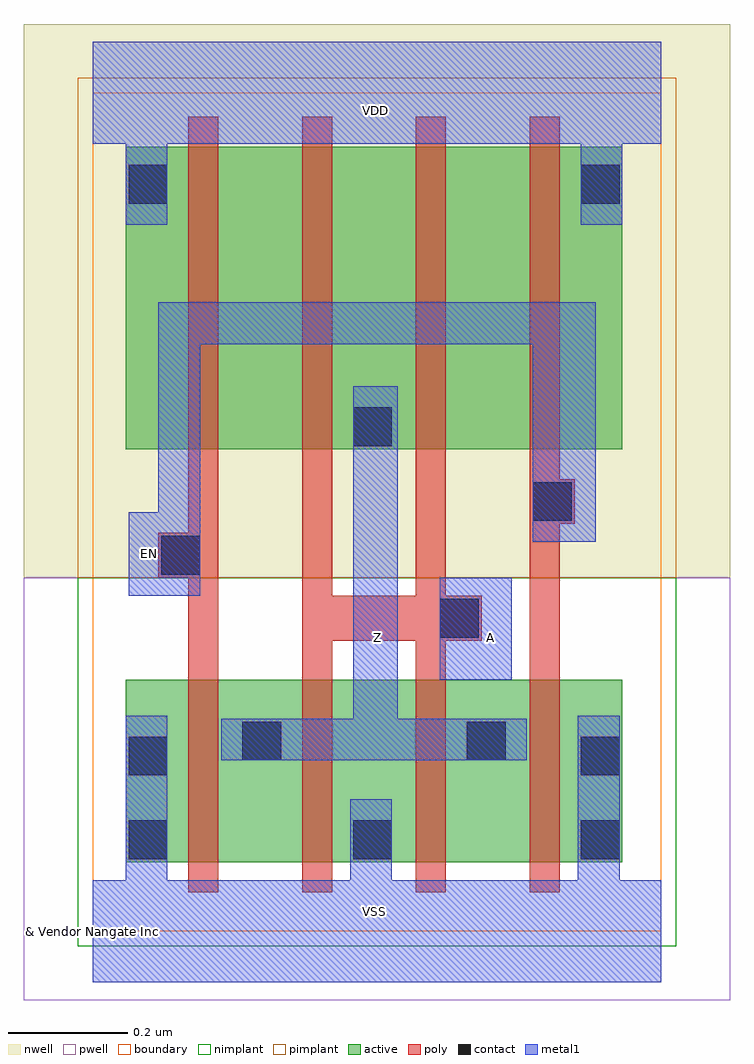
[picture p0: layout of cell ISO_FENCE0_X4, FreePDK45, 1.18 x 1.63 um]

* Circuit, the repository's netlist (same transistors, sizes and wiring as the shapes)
* 
* ******************************************************************************
* *                                                                            *
* *                   Copyright (C) 2004-2011, Nangate Inc.                    *
* *                           All rights reserved.                             *
* *                                                                            *
* * Nangate and the Nangate logo are trademarks of Nangate Inc.                *
* *                                                                            *
* * All trademarks, logos, software marks, and trade names (collectively the   *
* * "Marks") in this program are proprietary to Nangate or other respective    *
* * owners that have granted Nangate the right and license to use such Marks.  *
* * You are not permitted to use the Marks without the prior written consent   *
* * of Nangate or such third party that may own the Marks.                     *
* *                                                                            *
* * This file has been provided pursuant to a License Agreement containing     *
* * restrictions on its use. This file contains valuable trade secrets and     *
* * proprietary information of Nangate Inc., and is protected by U.S. and      *
* * international laws and/or treaties.                                        *
* *                                                                            *
* * The copyright notice(s) in this file does not indicate actual or intended  *
* * publication of this file.                                                  *
* *                                                                            *
* *     NGLibraryCreator, v2010.08-HR32-SP3-2010-08-05 - build 1009061800      *
* *                                                                            *
* ******************************************************************************
* 
* 
* Running on server08.nangate.com for user Giancarlo Franciscatto (gfr).
* Local time is now Thu, 6 Jan 2011, 19:45:45.
* Main process id is 3320.
*
********************************************************************************
*                                                                              *
* Cellname:   ISO_FENCE0_X4.                                                   *
*                                                                              *
* Technology: NCSU FreePDK 45nm.                                               *
* Format:     Cdl.                                                             *
*                                                                              *
* Written on server08.nangate.com for user Giancarlo Franciscatto (gfr)        *
* at 19:45:45 on Thu, 6 Jan 2011.                                              *
*                                                                              *
********************************************************************************
.SUBCKT ISO_FENCE0_X4 A EN Z VDD VSS 
*.PININFO A:I EN:I Z:O VDD:P VSS:G 
*.EQN Z=!(A + EN)
M_i_0 Z EN VSS VSS NMOS_VTL W=0.305000U L=0.050000U
M_i_7 VSS A Z VSS NMOS_VTL W=0.305000U L=0.050000U
M_i_13 Z A VSS VSS NMOS_VTL W=0.305000U L=0.050000U
M_i_19 VSS EN Z VSS NMOS_VTL W=0.305000U L=0.050000U
M_i_25 net_000 EN VDD VDD PMOS_VTL W=0.505000U L=0.050000U
M_i_30 Z A net_000 VDD PMOS_VTL W=0.505000U L=0.050000U
M_i_36 net_001 A Z VDD PMOS_VTL W=0.505000U L=0.050000U
M_i_40 VDD EN net_001 VDD PMOS_VTL W=0.505000U L=0.050000U
.ENDS 

********************************************************************************
*
* END
*
********************************************************************************

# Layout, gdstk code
import gdstk
lib = gdstk.Library(unit=1e-6, precision=1e-10)
def R(c, l, rs):  # rectangles x0, y0, x1, y1
    for r in rs: c.add(gdstk.rectangle(r[:2], r[2:], *l))
def P(c, l, *ps):  # polygons
    for p in ps: c.add(gdstk.Polygon(p, *l))
active = (1, 0)
pwell = (2, 0)
nwell = (3, 0)
nimplant = (4, 0)
pimplant = (5, 0)
poly = (9, 0)
contact = (10, 0)
metal1 = (11, 0)
boundary = (235, 0)

iso_fence0_x4 = lib.new_cell('ISO_FENCE0_X4')
R(iso_fence0_x4, active, [(0.055,0.115,0.885,0.42), (0.055,0.805,0.885,1.31)])
R(iso_fence0_x4, pwell, [(-0.115,-0.115,1.065,0.59)])
R(iso_fence0_x4, nwell, [(-0.115,0.59,1.065,1.515)])
R(iso_fence0_x4, nimplant, [(-0.025,-0.025,0.975,0.59)])
R(iso_fence0_x4, pimplant, [(-0.025,0.59,0.975,1.425)])
P(iso_fence0_x4, poly, [(0.11,0.59),(0.16,0.59),(0.16,0.065),(0.21,0.065),(0.21,1.36),(0.16,1.36),(0.16,0.665),(0.11,0.665)],
  [(0.35,0.065),(0.4,0.065),(0.4,0.485),(0.54,0.485),(0.54,0.065),(0.59,0.065),(0.59,0.485),(0.65,0.485),(0.65,0.56),(0.59,0.56),(0.59,1.36),(0.54,1.36),(0.54,0.56),(0.4,0.56),(0.4,1.36),(0.35,1.36)],
  [(0.73,0.065),(0.78,0.065),(0.78,0.68),(0.805,0.68),(0.805,0.755),(0.78,0.755),(0.78,1.36),(0.73,1.36)])
R(iso_fence0_x4, contact, [(0.06,0.12,0.125,0.185), (0.435,0.12,0.5,0.185), (0.815,0.12,0.88,0.185), (0.06,0.26,0.125,0.325), (0.815,0.26,0.88,0.325), (0.25,0.285,0.315,0.35), (0.625,0.285,0.69,0.35), (0.58,0.49,0.645,0.555), (0.115,0.595,0.18,0.66), (0.735,0.685,0.8,0.75), (0.435,0.81,0.5,0.875), (0.06,1.215,0.125,1.28), (0.815,1.215,0.88,1.28)])
R(iso_fence0_x4, metal1, [(0.58,0.42,0.7,0.59)])
P(iso_fence0_x4, metal1, [(0.215,0.285),(0.725,0.285),(0.725,0.355),(0.51,0.355),(0.51,0.91),(0.435,0.91),(0.435,0.355),(0.215,0.355)],
  [(0.06,0.56),(0.18,0.56),(0.18,0.98),(0.735,0.98),(0.735,0.65),(0.84,0.65),(0.84,1.05),(0.11,1.05),(0.11,0.7),(0.06,0.7)],
  [(0,-0.085),(0.95,-0.085),(0.95,0.085),(0.88,0.085),(0.88,0.36),(0.81,0.36),(0.81,0.085),(0.5,0.085),(0.5,0.22),(0.43,0.22),(0.43,0.085),(0.125,0.085),(0.125,0.36),(0.055,0.36),(0.055,0.085),(0,0.085)],
  [(0,1.315),(0.055,1.315),(0.055,1.18),(0.125,1.18),(0.125,1.315),(0.815,1.315),(0.815,1.18),(0.885,1.18),(0.885,1.315),(0.95,1.315),(0.95,1.485),(0,1.485)])
R(iso_fence0_x4, boundary, [(0,0,0.95,1.4)])
iso_fence0_x4.add(gdstk.Label('A', (0.665,0.49), layer=11, texttype=0))
iso_fence0_x4.add(gdstk.Label('EN', (0.095,0.63), layer=11, texttype=0))
iso_fence0_x4.add(gdstk.Label('VDD', (0.4725,1.37), layer=11, texttype=0))
iso_fence0_x4.add(gdstk.Label('VSS', (0.47,0.0325), layer=11, texttype=0))
iso_fence0_x4.add(gdstk.Label('Z', (0.475,0.49), layer=11, texttype=0))
iso_fence0_x4.add(gdstk.Label('& Vendor Nangate Inc', (0,0), layer=63, texttype=63))
iso_fence0_x4.add(gdstk.Label('& Product Open Cell Library', (0,0), layer=63, texttype=63))
iso_fence0_x4.add(gdstk.Label('& Version 2010_12', (0,0), layer=63, texttype=63))
iso_fence0_x4.add(gdstk.Label('& Instance ISO_FENCE0_X4', (0,0), layer=63, texttype=63))

lib.write_gds('ISO_FENCE0_X4.gds')
